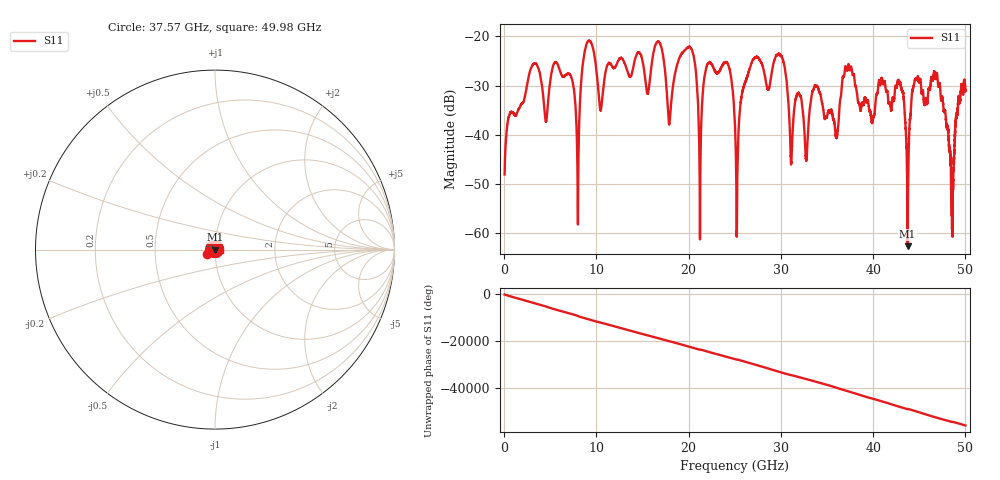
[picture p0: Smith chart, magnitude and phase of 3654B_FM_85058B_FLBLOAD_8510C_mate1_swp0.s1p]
!Created with skrf (http://scikit-rf.org).
# Hz S RI R 50.0
!freq ReS11 ImS11
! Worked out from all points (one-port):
!   10001 points, 45 MHz to 50 GHz, reference 50 ohm
!   lowest |S11| = -62.7 dB at 43.74 GHz (marker M1), VSWR 1.00, Z = 49.9 - j0.0136 ohm
!   |S11| at or under -10 dB: start of sweep to end of sweep
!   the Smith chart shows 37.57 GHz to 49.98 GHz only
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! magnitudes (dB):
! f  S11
! 45 MHz  -48.1
! 3.082 GHz  -25.8
! 6.289 GHz  -28.1
! 7.963 GHz  -51.9
! 9.012 GHz  -21.2
! 10.46 GHz  -35.0
! 12.53 GHz  -24.4
! 16.78 GHz  -21.1
! 17.91 GHz  -37.7
! 18.78 GHz  -25.6
! 20.4 GHz  -23.0
! 21.24 GHz  -56.0
! 22 GHz  -25.8
! 24.16 GHz  -25.3
! 25.02 GHz  -38.3
! 26.94 GHz  -24.8
! 29.68 GHz  -23.6
! 31.27 GHz  -39.6
! 33.81 GHz  -30.2
! 36.04 GHz  -40.7
! 37.51 GHz  -26.8
! 42.88 GHz  -29.5
! 43.74 GHz  -62.7
! 43.76 GHz  -61.8
! 44.45 GHz  -29.5
! 46.75 GHz  -28.5
! 48.57 GHz  -57.2
! 50 GHz  -30.9
